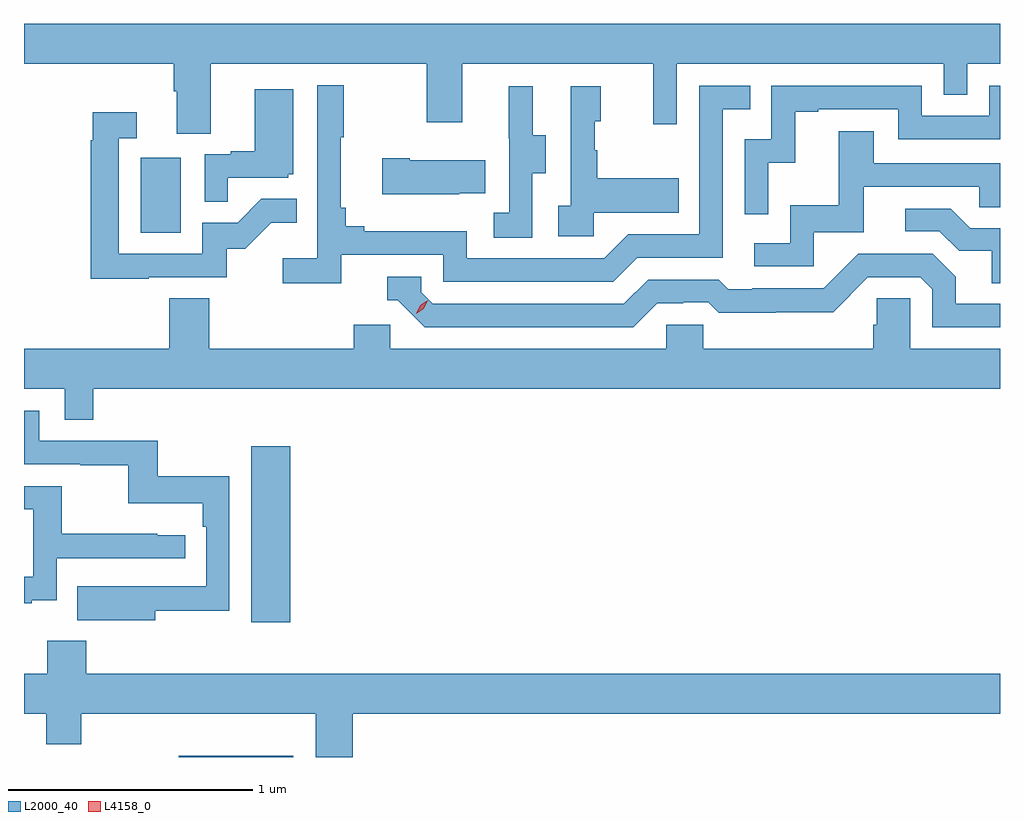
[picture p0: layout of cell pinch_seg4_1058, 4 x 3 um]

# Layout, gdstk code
import gdstk
lib = gdstk.Library(unit=1e-6, precision=1e-09)
def R(c, l, rs):  # rectangles x0, y0, x1, y1
    for r in rs: c.add(gdstk.rectangle(r[:2], r[2:], *l))
def P(c, l, *ps):  # polygons
    for p in ps: c.add(gdstk.Polygon(p, *l))
L2000_40 = (2000, 40)
L4158_0 = (4158, 0)

pinch_seg4_1058 = lib.new_cell('pinch_seg4_1058')
R(pinch_seg4_1058, L2000_40, [(861.225,763.343,861.694,763.348), (861.521,763.896,861.682,764.617), (861.068,765.492,861.232,765.799)])
P(pinch_seg4_1058, L2000_40, [(861.355,766.184),(862.24,766.184),(862.24,765.945),(862.387,765.945),(862.387,766.184),(863.168,766.184),(863.168,765.936),(863.265,765.936),(863.265,766.184),(864.36,766.184),(864.36,766.057),(864.456,766.057),(864.456,766.184),(864.59,766.184),(864.59,766.348),(860.59,766.348),(860.59,766.184),(861.203,766.184),(861.203,766.072),(861.215,766.072),(861.215,765.898),(861.355,765.898)],
  [(861.89,765.402),(862.308,765.402),(862.308,765.291),(863.005,765.291),(863.104,765.39),(863.454,765.39),(863.454,765.999),(863.567,765.999),(863.567,766.095),(863.358,766.095),(863.358,765.486),(863.067,765.486),(862.968,765.387),(862.404,765.387),(862.404,765.499),(861.985,765.499),(861.985,765.518),(861.908,765.518),(861.908,765.595),(861.889,765.595),(861.889,765.883),(861.901,765.883),(861.901,766.096),(861.792,766.096),(861.792,765.388),(861.651,765.388),(861.651,765.286),(861.89,765.286)],
  [(863.64,765.779),(863.75,765.779),(863.75,765.987),(863.845,765.987),(863.845,765.999),(864.174,765.999),(864.174,765.876),(864.59,765.876),(864.59,766.095),(864.546,766.095),(864.546,765.972),(864.27,765.972),(864.27,766.095),(863.652,766.095),(863.652,765.876),(863.544,765.876),(863.544,765.567),(863.64,765.567)],
  [(862.926,765.575),(863.273,765.575),(863.273,765.715),(862.939,765.715),(862.939,765.83),(862.929,765.83),(862.929,765.948),(862.954,765.948),(862.954,766.093),(862.83,766.093),(862.83,765.602),(862.779,765.602),(862.779,765.477),(862.926,765.477)],
  [(862.674,765.736),(862.729,765.736),(862.729,765.891),(862.675,765.891),(862.675,766.093),(862.577,766.093),(862.577,765.879),(862.578,765.879),(862.578,765.575),(862.515,765.575),(862.515,765.472),(862.674,765.472)],
  [(861.425,765.717),(861.672,765.717),(861.672,765.732),(861.694,765.732),(861.694,766.081),(861.536,766.081),(861.536,765.826),(861.437,765.826),(861.437,765.813),(861.33,765.813),(861.33,765.619),(861.425,765.619)],
  [(861.101,765.309),(861.42,765.309),(861.42,765.426),(861.496,765.426),(861.603,765.533),(861.707,765.533),(861.707,765.632),(861.563,765.632),(861.465,765.534),(861.321,765.534),(861.321,765.405),(860.979,765.405),(860.979,765.879),(861.052,765.879),(861.052,765.985),(860.871,765.985),(860.871,765.872),(860.863,765.872),(860.863,765.304),(861.101,765.304)],
  [(863.826,765.495),(864.031,765.495),(864.031,765.681),(864.505,765.681),(864.505,765.597),(864.59,765.597),(864.59,765.777),(864.073,765.777),(864.073,765.907),(863.929,765.907),(863.929,765.604),(863.73,765.604),(863.73,765.45),(863.583,765.45),(863.583,765.354),(863.826,765.354)],
  [(862.373,765.653),(862.481,765.653),(862.481,765.79),(862.171,765.79),(862.171,765.798),(862.059,765.798),(862.059,765.65),(862.373,765.65)],
  [(864.59,765.51),(864.469,765.51),(864.388,765.591),(864.201,765.591),(864.201,765.498),(864.342,765.498),(864.422,765.418),(864.557,765.418),(864.557,765.286),(864.59,765.286)],
  [(863.185,765.204),(863.292,765.204),(863.292,765.207),(863.395,765.207),(863.437,765.165),(863.67,765.165),(863.67,765.167),(863.906,765.167),(864.048,765.309),(864.264,765.309),(864.312,765.261),(864.312,765.105),(864.59,765.105),(864.59,765.201),(864.409,765.201),(864.409,765.311),(864.315,765.405),(864.009,765.405),(863.868,765.264),(863.575,765.264),(863.575,765.261),(863.476,765.261),(863.437,765.3),(863.148,765.3),(863.049,765.201),(862.266,765.201),(862.218,765.249),(862.218,765.312),(862.079,765.312),(862.079,765.216),(862.122,765.216),(862.233,765.105),(863.086,765.105)],
  [(860.873,764.852),(864.59,764.852),(864.59,765.016),(864.222,765.016),(864.222,765.224),(864.085,765.224),(864.085,765.114),(864.071,765.114),(864.071,765.016),(863.373,765.016),(863.373,765.114),(863.223,765.114),(863.223,765.016),(862.092,765.016),(862.092,765.114),(861.941,765.114),(861.941,765.016),(861.35,765.016),(861.35,765.224),(861.185,765.224),(861.185,765.016),(860.59,765.016),(860.59,764.852),(860.757,764.852),(860.757,764.725),(860.873,764.725)],
  [(861.127,763.942),(861.432,763.942),(861.432,764.494),(861.139,764.494),(861.139,764.64),(860.652,764.64),(860.652,764.763),(860.59,764.763),(860.59,764.544),(860.821,764.544),(860.821,764.539),(861.018,764.539),(861.018,764.384),(861.323,764.384),(861.323,764.288),(861.336,764.288),(861.336,764.043),(861.023,764.043),(861.023,764.044),(860.809,764.044),(860.809,763.904),(861.127,763.904)],
  [(860.621,763.985),(860.724,763.985),(860.724,764.157),(861.25,764.157),(861.25,764.253),(861.137,764.253),(861.137,764.258),(860.744,764.258),(860.744,764.454),(860.59,764.454),(860.59,764.358),(860.628,764.358),(860.628,764.082),(860.59,764.082),(860.59,763.974),(860.621,763.974)],
  [(861.938,763.52),(864.59,763.52),(864.59,763.684),(860.846,763.684),(860.846,763.819),(860.686,763.819),(860.686,763.684),(860.59,763.684),(860.59,763.52),(860.681,763.52),(860.681,763.396),(860.825,763.396),(860.825,763.52),(861.785,763.52),(861.785,763.343),(861.938,763.343)])
P(pinch_seg4_1058, L4158_0, [(862.197,765.161),(862.197,765.161),(862.213,765.194),(862.243,765.214),(862.244,765.214),(862.244,765.213),(862.228,765.181),(862.197,765.161)])

lib.write_gds('pinch_seg4_1058.gds')
